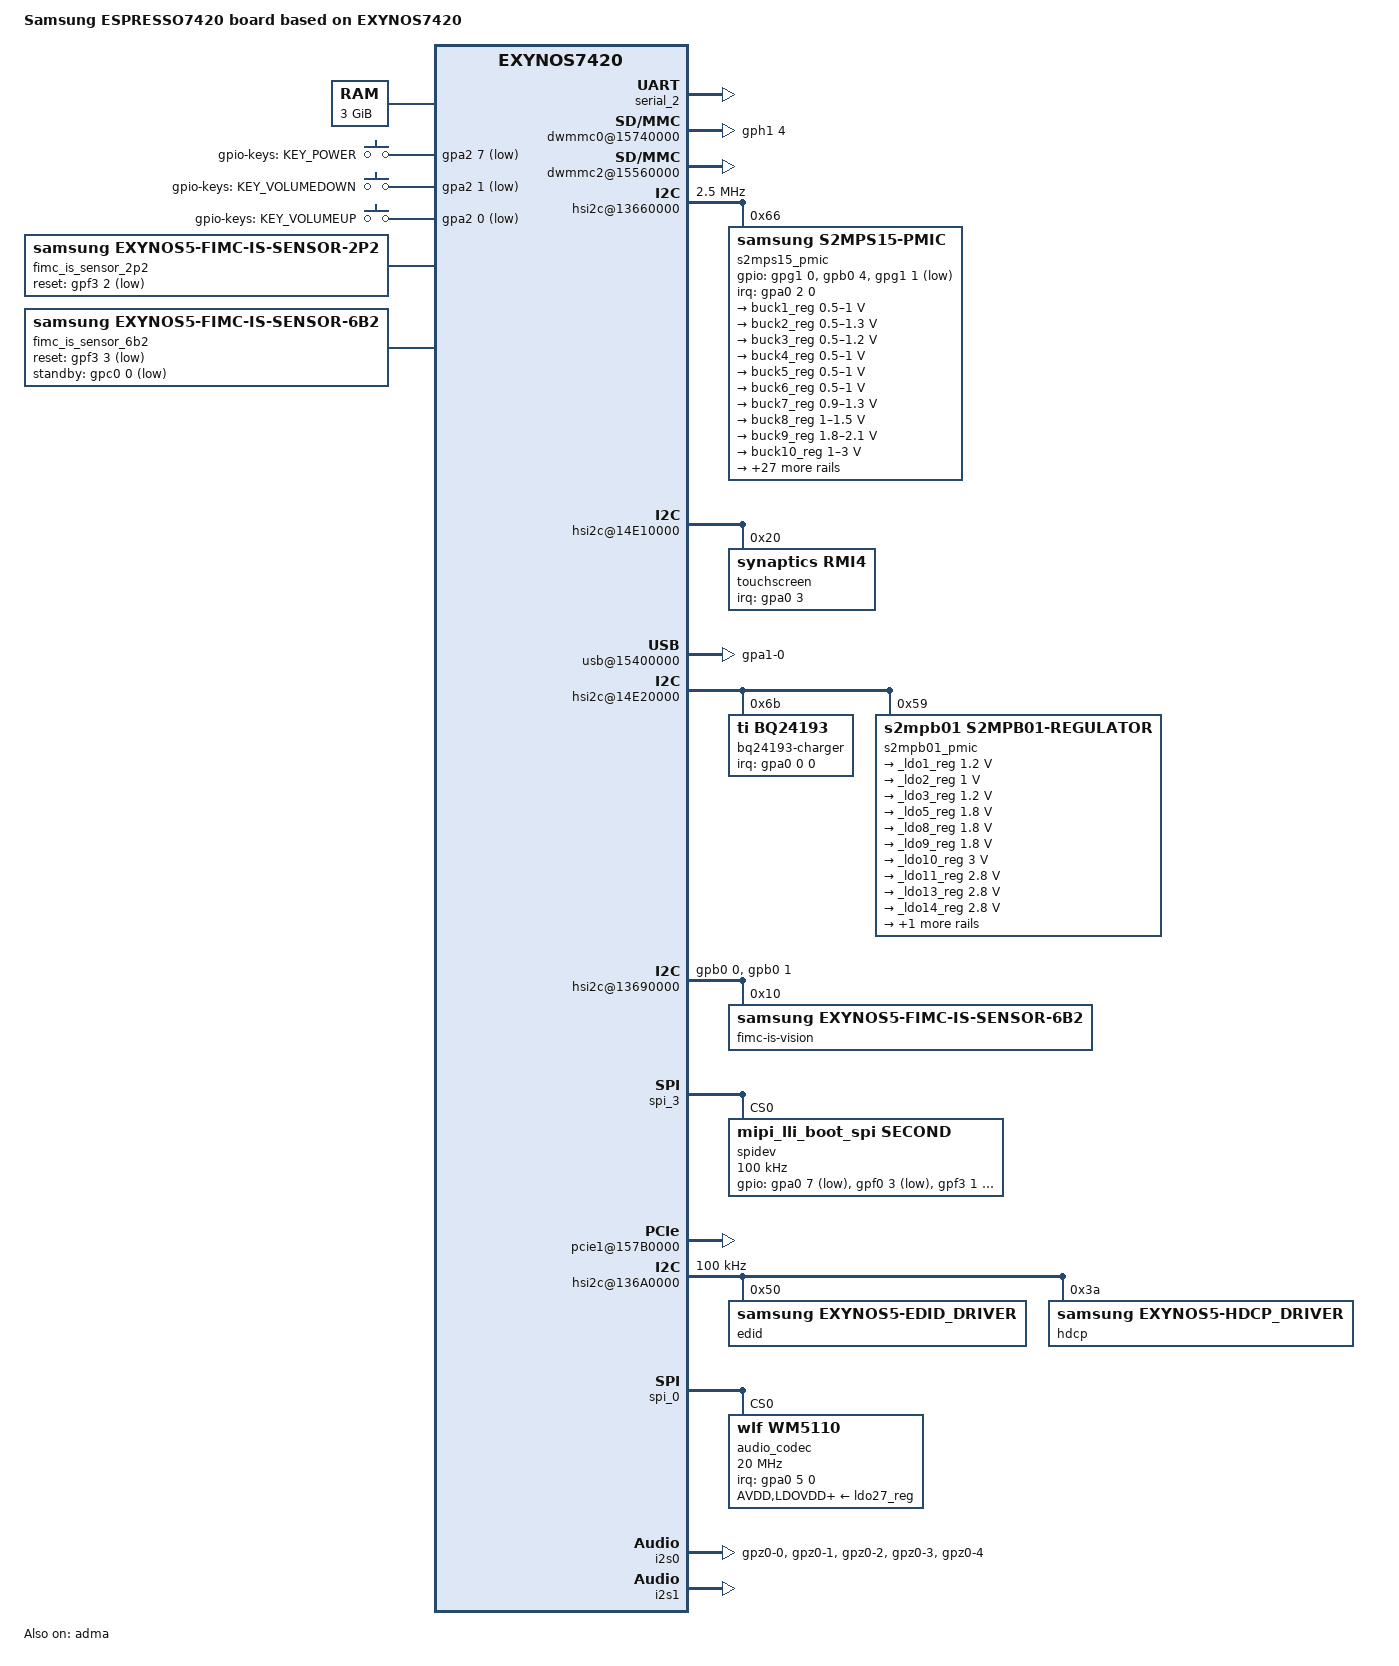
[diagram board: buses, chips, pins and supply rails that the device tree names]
/*
 * SAMSUNG ESPRESSO7420 board device tree source
 *
 * Copyright (c) 2014 Samsung Electronics Co., Ltd.
 *		http://www.samsung.com
 *
 * This program is free software; you can redistribute it and/or modify
 * it under the terms of the GNU General Public License version 2 as
 * published by the Free Software Foundation.
*/

/dts-v1/;
#include "exynos7420.dtsi"

/ {
	model = "Samsung ESPRESSO7420 board based on EXYNOS7420";
	compatible = "samsung,exynos7420", "samsung,ESPRESSO7420";

	memory@40000000 {
		device_type = "memory";
		reg = <0x40000000 0xC0000000>;
	};

	reserved-memory {
		#address-cells = <1>;
		#size-cells = <1>;
		ranges;

		common {
			compatible = "exynos5433-ion,common";
			size = <0x600000>;
			alignment = <0x1000>;
			id = <0>;
		};

		video {
			compatible = "exynos5433-ion,video";
			secure;
			reg = <0xE2A00000 0xE400000>;
			id = <11>;
			compat-id = <4 5 6 7>;
		};

		video_ext {
			compatible = "exynos5433-ion,video_ext";
			secure;
			reg = <0xF0E00000 0x600000>;
			id = <1>;
		};

		mfc_fw {
			compatible = "exynos5433-ion,mfc_fw";
			secure;
			reg = <0xE2800000 0x200000>;
			id = <8>;
		};

		mfc_nfw {
			compatible = "exynos5433-ion,mfc_nfw";
			reg = <0xE2600000 0x110000>;
			id = <12>;
		};

		secdma {
			compatible = "exynos5433-ion,secdma";
			size = <0x40000>;
			alignment = <0x40000>;
			id = <13>;
		};

		mipi_lli_reserved: mipi_lli {
			compatible = "mipi-lli-shmem";
			#memory-region-cells = <0>;
			size = <0x400000>;
			alignment = <0x400000>;
		};

		iram_vector {
			compatible = "mali,iram-vector";
			reg = <0xF2A00000 0x200000>;
		};

		sss_debug {
			compatible = "secure,sss-debug";
			reg = <0xF2C00000 0x100000>;
		};
	};

	aliases {
		spi0 = &spi_0;
		spi1 = &spi_1;
		spi2 = &spi_2;
		spi3 = &spi_3;
		spi4 = &spi_4;
		spi5 = &spi_5;
	};

	chosen {
		bootargs = "console=ttySAC2,115200n8 ess_setup=0x46000000";
		linux,initrd-start = <0x42000000>;
		linux,initrd-end = <0x420FFFFF>;
	};

	fixed-rate-clocks {
		oscclk {
			compatible = "samsung,exynos7420-oscclk";
			clock-frequency = <24000000>;
		};
	};

	ion {
		compatible = "samsung,exynos5430-ion";
	};

	serial_2: uart@14C30000 {
		/* Enable UART channel for debug port */
		pinctrl-names = "default";
		pinctrl-0 = <&uart2_bus>;
		status = "okay";
	};

	dwmmc0@15740000 {
		status = "okay";
		num-slots = <1>;
		broken-cd;
		use-smu;
		fixed_volt;
		biu-clock-gate;
		clock-gate;
		enable-cclk-on-suspend;
		only_once_tune;
		use-fine-tuning;
		bypass-for-allpass;
		supports-highspeed;
		supports-hs200-mode;
		supports-ddr200-mode;
		enable-cache-control;
		use-enable-shift;
		qos_int_level = <468000>;
		ignore-phase=<( 1<<7 )>;
		desc-size = <3>;
		fifo-depth = <0x40>;
		card-detect-delay = <200>;
		samsung,dw-mshc-ciu-div = <3>;
		samsung,dw-mshc-sdr-timing = <3 0 2 1>;
		samsung,dw-mshc-ddr-timing = <3 0 3 2>;
		samsung,dw-mshc-hs200-timing = <3 0 3 1>;
		samsung,dw-mshc-ddr200-timing = <1 0 2 2>;
		samsung,dw-mshc-ddr200-delay-line = <118>;
		clk_pin = "gpr0-0";
		clk_addr = "15690000.pinctrl";
		clk_val = <0x4>;
		clk_str_num = <6>;
		num-ref-clks = <8>;
		ciu_clkin = <25 50 50 100 200 100 200 400>;
		pinctrl-names = "default";
		pinctrl-0 = <&sd0_clk &sd0_cmd &sd0_rdqs &sd0_bus1 &sd0_bus4 &sd0_bus8>;
		gpios = <&gph1 4 0>;
		slot@0 {
			reg = <0>;
			bus-width = <8>;
		};
	};

	dwmmc2@15560000 {
		status = "okay";
		num-slots = <1>;
		supports-highspeed;
		enable-cclk-on-suspend;
		cd-type = <1>;
		bypass-smu;
		biu-clock-gate;
		clock-gate;
		use-fine-tuning;
		desc-size = <3>;
		fifo-depth = <0x40>;
		card-detect-delay = <200>;
		qos_int_level = <468000>;
		bypass-for-allpass;
		fix-fmp-size-mismatch;
		not-allow-single-dma;
		samsung,dw-mshc-ciu-div = <3>;
		samsung,dw-mshc-sdr-timing = <3 0 3 2>;
		samsung,dw-mshc-ddr-timing = <3 0 2 1>;
		clk_pin = "gpr4-0";
		clk_addr = "10E60000.pinctrl";
		clk_val = <0x2>;
		clk_str_num = <6>;
		num-ref-clks = <8>;
		ciu_clkin = <25 50 50 100 200 100 200 400>;
		pinctrl-names = "default";
		pinctrl-0 = <&sd2_clk &sd2_cmd &sd2_cd &sd2_bus1 &sd2_bus4>;
		vdd_vmmc-supply = <&ldo17_reg>;
		vqmmc-supply = <&ldo2_reg>;
		slot@0 {
			reg = <0>;
			bus-width = <4>;
			disable-wp;
		};
	};

	pinctrl@10580000 {

		dwc3_b_sess: dwc3-b-sess {
			samsung,pins = "gpa1-0";
			samsung,pin-function = <0xf>;
			samsung,pin-pud = <0>;
		};

		pmic_irq: pmic-irq {
			samsung,pins = "gpa0-2";
			samsung,pin-pud = <3>;
			samsung,pin-drv = <3>;
		};

		cp_status: cp_status {
			samsung,pins = "gpa0-7";
			samsung,pin-function = <0xf>;
			samsung,pin-pud = <3>;
			samsung,pin-drv = <0>;
		};
	};

	pinctrl@114B0000 {
		dbg_if: dbg-if {
			samsung,pins = "gpz0-6";
			samsung,pin-function = <1>;
			samsung,pin-pud = <0>;
			samsung,pin-drv = <0>;
			samsung,pin-con-pdn = <1>;
			samsung,pin-pud-pdn = <0>;
			samsung,pin-val = <1>;
		};

		i2s0_bus_sd0: i2s0-bus_sd0 {
			samsung,pins = "gpz0-0", "gpz0-1", "gpz0-2", "gpz0-3",
					"gpz0-4";
			samsung,pin-function = <2>;
			samsung,pin-pud = <1>;
			samsung,pin-drv = <0>;
		};

		i2s0_bus_idle_sd0: i2s0-bus-idle_sd0 {
			samsung,pins = "gpz0-0", "gpz0-1", "gpz0-2", "gpz0-3",
					"gpz0-4";
			samsung,pin-function = <0>;
			samsung,pin-pud = <1>;
			samsung,pin-drv = <0>;
		};
	};

	pinctrl@14870000 {
		g3d_dvs: g3d-dvs {
			samsung,pins = "gpg1-1";
			samsung,pin-function = <0x2>;
		};

		/* Warm reset information from AP */
		pm_wrsti: pm-wrsti {
			samsung,pins = "gpf0-2";
			samsung,pin-con-pdn = <3>;
		};

		cfg_wlanen: cfg-wlanen {
			samsung,pins = "gpf0-4";
			samsung,pin-function = <1>;
			samsung,pin-drv = <3>;
			samsung,pin-con-pdn = <3>;
		};

		cp_on: cp_on {
			samsung,pins = "gpf0-3";
			samsung,pin-function = <0x1>;
			samsung,pin-pud = <3>;
			samsung,pin-drv = <3>;
			samsung,pin-val = <0>;
		};

		cp_off: cp_off {
			samsung,pins = "gpf3-1";
			samsung,pin-function = <0x1>;
			samsung,pin-pud = <3>;
			samsung,pin-drv = <3>;
			samsung,pin-val = <0>;
		};

		cp_clk_en: cp_clk_en {
			samsung,pins = "gpf5-7";
			samsung,pin-function = <0x1>;
			samsung,pin-pud = <3>;
			samsung,pin-drv = <3>;
			samsung,pin-val = <0>;
		};

		cp_reset: cp_reset {
			samsung,pins = "gpg1-3";
			samsung,pin-function = <0x1>;
			samsung,pin-pud = <3>;
			samsung,pin-drv = <3>;
			samsung,pin-val = <0>;
		};
	};

	pd_aud: pd-aud@105c4000 {
		compatible = "samsung,exynos-pd";
		reg = <0x105c4000 0x20>;
	};

	hsi2c@13660000 {
		status = "okay";
		samsung,hs-mode;
		clock-frequency = <2500000>;
		samsung,use-apm;

		s2mps15_pmic@66 {
			compatible = "samsung,s2mps15-pmic";
			reg = <0x66>;
			interrupts = <2 0 0>;
			interrupt-parent = <&gpa0>;
			pinctrl-names = "default";
			pinctrl-0 = <&pmic_irq &pm_wrsti &g3d_dvs>;
			gpios = <&gpg1 0 0>, <&gpb0 4 0x2>, <&gpg1 1 0x1>;
			smpl_warn_en = <1>; /* 1 : enable , 0 : disable*/
			/* range of smpl_warn_vth */
			/* PMIC1 */
			/* 2100 : 2.3V, 2300 : 2.3V, 2500 : 2.5V, 2700 : 2.7V 2900 : 2.9V */
			/* 3100 : 3.0V, 3300 : 3.0V, 3500 : 3.0V */
			/* PMIC2 */
			/* 2100 : 2.1V, 2300 : 2.3V, 2500 : 2.5V, 2700 : 2.7V 2900 : 2.9V */
			/* 3100 : 3.1V, 3300 : 3.3V, 3500 : 3.5V */
			smpl_warn_vth = <2900>;
			smpl_warn_hys = <0x00>; /* LOwBat_Hys[4:3] 00(100mV)~11(400mV) */
			adc-on;
			buck_dvs_on;
			g3d_en = <1>; /* 1 : enable , 0 : disable */
			dvs_en = <1>; /* 1 : enable , 0 : disable */
			buck6en_pin = "gpb0-4";
			buck6en_addr = "13470000.pinctrl";
			/* RTC: wtsr/smpl */
			wtsr_en = <1>; /* enable */
			smpl_en = <1>; /* enable */
			wtsr_timer_val = <3>;	/* 1000ms */
			smpl_timer_val = <4>;	/* 500ms */
			check_jigon = <0>; /* do not check jigon */
			/* RTC: If it's first boot, reset rtc to 1/1/2014 12:00:00(Wed) */
			init_time,sec = <0>;
			init_time,min = <0>;
			init_time,hour = <12>;
			init_time,mday = <1>;
			init_time,mon = <0>;
			init_time,year = <114>;
			init_time,wday = <3>;

			regulators {
				buck1_reg: BUCK1 {
					regulator-name = "vdd_mif";
					regulator-min-microvolt = <500000>;
					regulator-max-microvolt = <1000000>;
					regulator-always-on;
					regulator-ramp-delay = <12000>;
					regulator-initial-mode = <1>;
				};

				buck2_reg: BUCK2 {
					regulator-name = "vdd_atlas";
					regulator-min-microvolt = <500000>;
					regulator-max-microvolt = <1300000>;
					regulator-always-on;
					regulator-ramp-delay = <12000>;
					regulator-initial-mode = <1>;
				};

				buck3_reg: BUCK3 {
					regulator-name = "vdd_apollo";
					regulator-min-microvolt = <500000>;
					regulator-max-microvolt = <1200000>;
					regulator-always-on;
					regulator-ramp-delay = <12000>;
					regulator-initial-mode = <1>;
				};

				buck4_reg: BUCK4 {
					regulator-name = "vdd_int";
					regulator-min-microvolt = <500000>;
					regulator-max-microvolt = <1000000>;
					regulator-always-on;
					regulator-ramp-delay = <12000>;
					regulator-initial-mode = <1>;
				};

				buck5_reg: BUCK5 {
					regulator-name = "vdd_disp_cam0";
					regulator-min-microvolt = <500000>;
					regulator-max-microvolt = <1000000>;
					regulator-always-on;
					regulator-ramp-delay = <12000>;
					regulator-initial-mode = <1>;
				};

				buck6_reg: BUCK6 {
					regulator-name = "vdd_g3d";
					regulator-min-microvolt = <500000>;
					regulator-max-microvolt = <1000000>;
					regulator-always-on;
					regulator-ramp-delay = <12000>;
					regulator-initial-mode = <1>;
				};

				buck7_reg: BUCK7 {
					regulator-name = "vdd_mem";
					regulator-min-microvolt = <900000>;
					regulator-max-microvolt = <1300000>;
					regulator-always-on;
					regulator-ramp-delay = <12000>;
					regulator-initial-mode = <3>;
				};

				buck8_reg: BUCK8 {
					regulator-name = "vdd_lldo";
					regulator-min-microvolt = <1000000>;
					regulator-max-microvolt = <1500000>;
					regulator-always-on;
					regulator-ramp-delay = <12000>;
					regulator-initial-mode = <3>;
				};

				buck9_reg: BUCK9 {
					regulator-name = "vdd_mldo";
					regulator-min-microvolt = <1800000>;
					regulator-max-microvolt = <2100000>;
					regulator-always-on;
					regulator-ramp-delay = <12000>;
					regulator-initial-mode = <3>;
				};

				buck10_reg: BUCK10 {
					regulator-name = "vdd_lldo2";
					regulator-min-microvolt = <1000000>;
					regulator-max-microvolt = <3000000>;
					regulator-always-on;
					regulator-ramp-delay = <12000>;
					regulator-initial-mode = <1>;
				};

				ldo1_reg: LDO1 {
					regulator-name = "vdd_ldo1";
					regulator-min-microvolt = <500000>;
					regulator-max-microvolt = <900000>;
					regulator-ramp-delay = <12000>;
					regulator-initial-mode = <3>;
					regulator-always-on;
				};

				ldo2_reg: LDO2 {
					regulator-name = "vqmmc";
					regulator-min-microvolt = <1620000>;
					regulator-max-microvolt = <3300000>;
					regulator-ramp-delay = <12000>;
					regulator-initial-mode = <1>;
					regulator-always-on;
				};

				ldo3_reg: LDO3 {
					regulator-name = "vdd_ldo3";
					regulator-min-microvolt = <1620000>;
					regulator-max-microvolt = <1980000>;
					regulator-ramp-delay = <12000>;
					regulator-initial-mode = <3>;
					regulator-always-on;
				};

				ldo4_reg: LDO4 {
					regulator-name = "vdd_ldo4";
					regulator-min-microvolt = <800000>;
					regulator-max-microvolt = <1110000>;
					regulator-ramp-delay = <12000>;
					regulator-initial-mode = <1>;
					regulator-always-on;
				};

				ldo5_reg: LDO5 {
					regulator-name = "vdd_ldo5";
					regulator-min-microvolt = <1620000>;
					regulator-max-microvolt = <1980000>;
					regulator-ramp-delay = <12000>;
					regulator-always-on;
					regulator-initial-mode = <1>;
				};

				ldo6_reg: LDO6 {
					regulator-name = "vdd_ldo6";
					regulator-min-microvolt = <2250000>;
					regulator-max-microvolt = <3300000>;
					regulator-ramp-delay = <12000>;
					regulator-always-on;
					regulator-initial-mode = <1>;
				};

				ldo7_reg: LDO7 {
					regulator-name = "vdd_ldo7";
					regulator-min-microvolt = <700000>;
					regulator-max-microvolt = <1150000>;
					regulator-ramp-delay = <12000>;
					regulator-always-on;
					regulator-initial-mode = <1>;
				};

				ldo8_reg: LDO8 {
					regulator-name = "vdd_ldo8";
					regulator-min-microvolt = <700000>;
					regulator-max-microvolt = <1000000>;
					regulator-ramp-delay = <12000>;
					regulator-always-on;
					regulator-initial-mode = <1>;
				};

				ldo9_reg: LDO9 {
					regulator-name = "vdd_ldo9";
					regulator-min-microvolt = <700000>;
					regulator-max-microvolt = <1000000>;
					regulator-ramp-delay = <12000>;
					regulator-always-on;
					regulator-initial-mode = <1>;
				};

				ldo10_reg: LDO10 {
					regulator-name = "vdd_ldo10";
					regulator-min-microvolt = <700000>;
					regulator-max-microvolt = <1000000>;
					regulator-ramp-delay = <12000>;
					regulator-always-on;
					regulator-initial-mode = <1>;
				};

				ldo11_reg: LDO11 {
					regulator-name = "vdd_ldo11";
					regulator-min-microvolt = <1000000>;
					regulator-max-microvolt = <1300000>;
					regulator-ramp-delay = <12000>;
					regulator-always-on;
					regulator-initial-mode = <1>;
				};

				ldo12_reg: LDO12 {
					regulator-name = "vdd_ldo12";
					regulator-min-microvolt = <1000000>;
					regulator-max-microvolt = <1300000>;
					regulator-ramp-delay = <12000>;
					regulator-always-on;
					regulator-initial-mode = <1>;
				};

				ldo13_reg: LDO13 {
					regulator-name = "vdd_ldo13";
					regulator-min-microvolt = <1000000>;
					regulator-max-microvolt = <1300000>;
					regulator-ramp-delay = <12000>;
					regulator-always-on;
					regulator-initial-mode = <1>;
				};

				ldo14_reg: LDO14 {
					regulator-name = "vdd_ldo14";
					regulator-min-microvolt = <1800000>;
					regulator-max-microvolt = <3375000>;
					regulator-ramp-delay = <12000>;
					regulator-always-on;
					regulator-boot-on;
					regulator-initial-mode = <1>;
				};

				ldo15_reg: LDO15 {
					regulator-name = "vdd_ldo15";
					regulator-min-microvolt = <1500000>;
					regulator-max-microvolt = <2275000>;
					regulator-ramp-delay = <12000>;
					regulator-always-on;
					regulator-boot-on;
					regulator-initial-mode = <3>;
				};

				ldo16_reg: LDO16 {
					regulator-name = "vdd_ldo16";
					regulator-min-microvolt = <1800000>;
					regulator-max-microvolt = <1800000>;
					regulator-ramp-delay = <12000>;
					regulator-always-on;
					regulator-boot-on;
					regulator-initial-mode = <3>;
				};

				ldo17_reg: LDO17 {
					regulator-name = "vmmc";
					regulator-min-microvolt = <1800000>;
					regulator-max-microvolt = <3375000>;
					regulator-ramp-delay = <12000>;
					regulator-always-on;
					regulator-boot-on;
					regulator-initial-mode = <1>;
				};

				ldo18_reg: LDO18 {
					regulator-name = "vdd_ldo18";
					regulator-min-microvolt = <1500000>;
					regulator-max-microvolt = <2275000>;
					regulator-ramp-delay = <12000>;
					regulator-always-on;
					regulator-boot-on;
					regulator-initial-mode = <1>;
				};

				ldo19_reg: LDO19 {
					regulator-name = "vdd_ldo19";
					regulator-min-microvolt = <1800000>;
					regulator-max-microvolt = <3375000>;
					regulator-ramp-delay = <12000>;
					regulator-boot-on;
					regulator-always-on;
					regulator-initial-mode = <1>;
				};

				ldo20_reg: LDO20 {
					regulator-name = "vdd_ldo20";
					regulator-min-microvolt = <1500000>;
					regulator-max-microvolt = <2275000>;
					regulator-ramp-delay = <12000>;
					regulator-always-on;
					regulator-boot-on;
					regulator-initial-mode = <1>;
				};

				ldo21_reg: LDO21 {
					regulator-name = "tsp_avdd";
					regulator-min-microvolt = <1800000>;
					regulator-max-microvolt = <3375000>;
					regulator-ramp-delay = <12000>;
					regulator-boot-on;
					regulator-always-on;
					regulator-initial-mode = <1>;
				};

				ldo22_reg: LDO22 {
					regulator-name = "CAM_SEN_CORE_1.2V_AP";
					regulator-min-microvolt = <1200000>;
					regulator-max-microvolt = <1200000>;
					regulator-ramp-delay = <12000>;
					regulator-boot-on;
					regulator-always-on;
					regulator-initial-mode = <1>;
				};

				ldo23_reg: LDO23 {
					regulator-name = "tsp_io";
					regulator-min-microvolt = <1500000>;
					regulator-max-microvolt = <2275000>;
					regulator-ramp-delay = <12000>;
					regulator-boot-on;
					regulator-always-on;
					regulator-initial-mode = <1>;
				};

				ldo24_reg: LDO24 {
					regulator-name = "vdd_ldo24";
					regulator-min-microvolt = <1800000>;
					regulator-max-microvolt = <3375000>;
					regulator-ramp-delay = <12000>;
					regulator-boot-on;
					regulator-always-on;
					regulator-initial-mode = <1>;
				};

				ldo25_reg: LDO25 {
					regulator-name = "vdd_ldo25";
					regulator-min-microvolt = <1800000>;
					regulator-max-microvolt = <3375000>;
					regulator-ramp-delay = <12000>;
					regulator-boot-on;
					regulator-always-on;
					regulator-initial-mode = <1>;
				};

				ldo26_reg: LDO26 {
					regulator-name = "vdd_ldo26";
					regulator-min-microvolt = <700000>;
					regulator-max-microvolt = <1470000>;
					regulator-ramp-delay = <12000>;
					regulator-boot-on;
					regulator-always-on;
					regulator-initial-mode = <1>;
				};

				ldo27_reg: LDO27 {
					regulator-name = "vdd_ldo27";
					regulator-min-microvolt = <1500000>;
					regulator-max-microvolt = <2275000>;
					regulator-ramp-delay = <12000>;
					regulator-boot-on;
					regulator-always-on;
					regulator-initial-mode = <1>;
				};
			};
		};
	};

	pinctrl@10580000 {
		gpa2_pull_up: gpa2_pull_up {
			samsung,pins = "gpa2-0", "gpa2-1", "gpa2-7";
			samsung,pin-function = <0xf>;
			samsung,pin-pud = <3>;
			samsung,pin-drv = <0>;
		};
		attn_irq: attn-irq {
			samsung,pins = "gpa0-3";
			samsung,pin-function = <0xf>;
			samsung,pin-pud = <0>;
			samsung,pin-drv = <0>;
		};
		attn_input: attn-input {
			samsung,pins = "gpa0-3";
			samsung,pin-function = <0>;
			samsung,pin-pud = <1>;
			samsung,pin-drv = <0>;
		};
		chg_irq: chg-irq {
			samsung,pins = "gpa0-0";
			samsung,pin-function = <0>;
			samsung,pin-pud = <3>;
			samsung,pin-drv = <3>;
		};
	};

	gpio_keys {
		compatible = "gpio-keys";
		#address-cells = <1>;
		#size-cells = <0>;
		pinctrl-names = "default";
		pinctrl-0 = <&gpa2_pull_up>;
		button@1 {
			label = "gpio-keys: KEY_POWER";
			interrupts = <7 0 0>;
			interrupt-parent = <&gpa2>;
			linux,code = <116>;
			gpios = <&gpa2 7 0xf>;
			gpio-key,wakeup = <1>;
		};
		button@2 {
			label = "gpio-keys: KEY_VOLUMEDOWN";
			interrupts = <1 0 0>;
			interrupt-parent = <&gpa2>;
			linux,code = <114>;
			gpios = <&gpa2 1 0xf>;
		};
		button@3 {
			label = "gpio-keys: KEY_VOLUMEUP";
			interrupts = <0 0 0>;
			interrupt-parent = <&gpa2>;
			linux,code = <115>;
			gpios = <&gpa2 0 0xf>;
		};
	};

	hsi2c@14E10000 {
		status = "okay";
		touchscreen@20 {
			compatible = "synaptics,rmi4";
			reg = <0x20>;
			pinctrl-names = "on_state", "off_state";
			pinctrl-0 = <&attn_irq>;
			pinctrl-1 = <&attn_input>;
			synaptics,irq_gpio = <&gpa0 3 0>;
			synaptics,irq_type = <8200>;
			synaptics,max_coords = <1440 2560>;     /* x y */
			synaptics,num_lines = <29 16>;          /* rx tx */

			synaptics,regulator_dvdd = "tsp_io";
			synaptics,regulator_avdd = "vdd_ldo25";
			synaptics,project_name = "";
		};
	};


	usb@15400000 {
		samsung,bsess-gpio = <&gpa1 0 0xf>;
		pinctrl-names = "default";
		pinctrl-0 = <&dwc3_b_sess>;
		status = "okay";

		dwc3 {
			maximum-speed = "super-speed";
			dr_mode = "otg";
		};
	};

	ipa_pdata {
		compatible = "samsung,exynos-ipa";

		control_temp = <90>;
		temp_threshold = <30>;
		enabled = <1>;
		tdp = <3500>;
		boost = <1>;
		ros_power = <500>;
		little_weight = <1024>;
		big_weight = <256>;
		gpu_weight = <256>;
		little_max_power = <1000>;
		big_max_power = <6552>;
		gpu_max_power = <3110>;
		hotplug_out_threshold = <10>;
		hotplug_in_threshold = <0>;
		enable_ctlr = <1>;
		ctlr.mult = <2>;
		ctlr.k_i = <1>;
		ctlr.k_d = <0>;
		ctlr.feed_forward = <1>;
		ctlr.integral_reset_value = <0>;
		ctlr.integral_cutoff = <0>;
		ctlr.integral_reset_threshold = <10>;
	};

	decon_0: decon_fb {
		/* EINT for TE */
		gpios = <&gpd4 3 0xf>;
	};

	dsim_0: dsim@0x13900000 {
		lcd_info = <&s6e3ha0>;
		/* lcd reset, power */
		gpios = <&gpd4 0 0x1>, <&gpr2 0 0x1>;
	};

	s6e3fa0: s6e3fa0_fhd {
		 mode = <2>; /* 2: MIPI command mode */
		 resolution = <1080 1920>;
		 size = <70 121>;
		 timing,refresh = <60>;
		 timing,h-porch = <1 1 1>;
		 timing,v-porch = <10 1 1>;
		 timing,dsi-hs-clk = <1100>;
		 timing,dsi-escape-clk = <20>;
		 mic = <0>;
		 mic_ver = <1>;		/* 0: mic v1.1, 1: v1.2, 2: v2.0 */
		 type_of_ddi = <0>; /* 0:Samsung Mobile */
	};

	s6e3ha0: s6e3ha0_wqhd {
		mode = <2>;		/* 0: video mode, 1: DP command mode, 2: MIPI command mode */
		resolution = <1440 2560>;
		size = <70 121>;
		timing,refresh = <60>;
		timing,h-porch = <1 1 1>;
		timing,v-porch = <20 1 1>;
		timing,dsi-hs-clk = <1100>;
		timing,dsi-escape-clk = <20>;
		mic = <1>;		/* 0: mic disable, 1: mic enable */
		mic_ver = <2>;		/* 0: mic v1.1, 1: v1.2, 2: v2.0 */
		type_of_ddi = <0>;	/* 0: Samsung Mobile, 1: MAGNA, 2: Normal(Etc) */
	};

	hsi2c@14E20000 {
		status = "okay";
		bq24193-charger@6b {
			compatible = "ti,bq24193";
			reg = <0x6b>;
			interrupts = <0 0 0>;
			interrupt-parent = <&gpa0>;
			pinctrl-names = "default";
			pinctrl-3 = <&chg_irq>;
			dev_name = "bq24193";
		};

		s2mpb01_pmic@59 {
			compatible = "s2mpb01,s2mpb01-regulator";
			reg = <0x59>;

			regulators {
				_ldo1_reg: LDO1 {
					regulator-name = "VDD12_VTCAMCORE";
					regulator-min-microvolt = <1200000>;
					regulator-max-microvolt = <1200000>;
				};

				_ldo2_reg: LDO2 {
					regulator-name = "VDDD_MIPI_1.0V_COMP";
					regulator-min-microvolt = <1000000>;
					regulator-max-microvolt = <1000000>;
				};

				_ldo3_reg: LDO3 {
					regulator-name = "VDD12_CAMCORE";
					regulator-min-microvolt = <1200000>;
					regulator-max-microvolt = <1200000>;
				};

				_ldo5_reg: LDO5 {
					regulator-name = "VDD18_VTCAMIO";
					regulator-min-microvolt = <1800000>;
					regulator-max-microvolt = <1800000>;
				};

				_ldo8_reg: LDO8 {
					regulator-name = "VDD18_CAMIO";
					regulator-min-microvolt = <1800000>;
					regulator-max-microvolt = <1800000>;
				};

				_ldo9_reg: LDO9 {
					regulator-name = "VDDA_1.8V_COMP";
					regulator-min-microvolt = <1800000>;
					regulator-max-microvolt = <1800000>;
				};

				_ldo10_reg: LDO10 {
					regulator-name = "VDDA30_VTCAMSEN";
					regulator-min-microvolt = <3000000>;
					regulator-max-microvolt = <3000000>;
				};

				_ldo11_reg: LDO11 {
					regulator-name = "VDDA28_CAMSEN";
					regulator-min-microvolt = <2800000>;
					regulator-max-microvolt = <2800000>;
				};

				_ldo13_reg: LDO12 {
					regulator-name = "VDD28_VTCAMAF";
					regulator-min-microvolt = <2800000>;
					regulator-max-microvolt = <2800000>;
				};

				_ldo14_reg: LDO14 {
					regulator-name = "VDD28_CAMAF";
					regulator-min-microvolt = <2800000>;
					regulator-max-microvolt = <2800000>;
				};

				_ldo15_reg: LDO15 {
					regulator-name = "OIS_VDD_2.8V";
					regulator-min-microvolt = <2800000>;
					regulator-max-microvolt = <2800000>;
				};
			};
		};
	};

	hsi2c@13690000 {
		gpios = <&gpb0 0 0 &gpb0 1 0 >;
		status = "okay";
		samsung,i2c-sda-delay = <100>;
		samsung,i2c-max-bus-freq = <400000>;
		status = "okay";
		fimc-is-vision@20 {
			compatible = "samsung,exynos5-fimc-is-sensor-6b2";
			reg = <0x10>;
		};
	};

	fimc_is_sensor_2p2: fimc-is_sensor_2p2@5A {
		compatible = "samsung,exynos5-fimc-is-sensor-2p2";

		position = <0>; /* Rear:0. Front:1 */
		id = <0>; /* bns_id */
		mclk_ch = <0>;
		sensor_i2c_ch = <0>; /* I2C 0 */
		sensor_i2c_addr = <0x5A>;

		gpio_reset = <&gpf3 2 0x1>; /* sensor reset */
		status = "okay";

		af {
			product_name = <7>; /* AK7345 */
			i2c_addr = <0x5A>;
			i2c_ch = <0>; /* I2C 2 */
		};

		flash {
			product_name = <5>; /* KTD2692 */
			flash_first_gpio = <3>;
			flash_second_gpio = <7>;
		};

		companion {
			product_name = <2>; /* 73C2 */
			spi_channel = <1>;
			i2c_addr = <0x7A>;
			i2c_ch = <0>; /* I2C 0*/
		};

		ois {
			product_name = <1>; /* IDG2030 */
			i2c_addr = <0x48>;
			i2c_ch = <2>; /* I2C 2 */
		};
	};

	fimc_is_sensor_6b2: fimc-is_sensor_6b2@20 {
		compatible = "samsung,exynos5-fimc-is-sensor-6b2";

		position = <1>; /* Rear:0. Front:1 */
		id = <1>; /* bns_id */
		mclk_ch = <1>;
		sensor_i2c_ch = <1>;
		sensor_i2c_addr = <0x20>;

		gpio_reset = <&gpf3 3 0x1>;
		gpio_standby = <&gpc0 0 0x1>;
		status = "okay";
	};

	fimc_is_sensor0: fimc_is_sensor@14020000 {
		scenario = <0>;
		id = <0>;
		csi_ch = <0>;
		flite_ch = <0>;
		is_bns = <1>;
		status = "okay";
	};

	fimc_is_sensor1: fimc_is_sensor@14030000 {
		scenario = <0>;
		id = <1>;
		csi_ch = <1>;
		flite_ch = <1>;
		is_bns = <0>;
		status = "okay";
	};

	fimc_is_sensor2: fimc_is_sensor@14110000 {
		scenario = <0>;	/* Normal, Vision, OIS etc */
		id = <2>; /* bns_id */
		csi_ch = <2>;
		flite_ch = <2>;
		is_bns = <1>;
		status = "okay";
	};

	fimc_is_sensor3: fimc_is_sensor@14040000 {
		scenario = <0>;	/* Normal, Vision, OIS etc */
		id = <3>; /* bns_id */
		csi_ch = <3>;
		flite_ch = <3>;
		is_bns = <0>;
		status = "okay";
	};

	fimc_is@14200000 {
		rear_sensor_id = <10>;
		front_sensor_id = <7>;
		use_module_check;
		skip_cal_loading;
		use_ois_hsi2c;

		pinctrl-names = "default", "pin0", "pin1", "pin2", "pin3", "pin4", "pin5", "pin6";
		pinctrl-0 = <&fimc_is_mclk0_in &fimc_is_mclk1_in &fimc_is_mclk2_in>;
		pinctrl-1 = <&fimc_is_mclk1_fn>; /* companion */
		pinctrl-2 = <&fimc_is_i2c0 &fimc_is_i2c2 &fimc_is_mclk0_fn &fimc_is_mclk1_fn>; /* rear on */
		pinctrl-3 = <&fimc_is_i2c1 &fimc_is_mclk2_fn>; /* front on */
		pinctrl-4 = <&fimc_is_mclk0_in &fimc_is_mclk1_in &fimc_is_mclk2_in>; /* rear off */
		pinctrl-5 = <&fimc_is_i2c0 &fimc_is_mclk1_fn &fimc_is_i2c1 &fimc_is_mclk2_fn>; /* front c2 on */
		pinctrl-6 = <&fimc_is_mclk1_in &fimc_is_mclk2_in>; /* front c2 off */
		pinctrl-7 = <&fimc_is_mclk2_in>; /* front off */

		#define DVFS_INT_L0 690000
		#define DVFS_INT_L1 680000
		#define DVFS_INT_L2 670000
		#define DVFS_INT_L3 660000
		#define DVFS_INT_L4 650000
		#define DVFS_INT_L5 640000
		#define DVFS_INT_L6 630000
		#define DVFS_INT_L7 620000
		#define DVFS_INT_L8 610000
		#define DVFS_INT_L9 600000

		#define DVFS_CAM_L0 590000
		#define DVFS_CAM_L1 580000
		#define DVFS_CAM_L2 570000
		#define DVFS_CAM_L3 560000
		#define DVFS_CAM_L4 550000
		#define DVFS_CAM_L5 540000
		#define DVFS_CAM_L6 530000
		#define DVFS_CAM_L7 520000
		#define DVFS_CAM_L8 510000
		#define DVFS_CAM_L9 500000

		#define DVFS_MIF_L0 1552000
		#define DVFS_MIF_L1 1456000
		#define DVFS_MIF_L2 1264000
		#define DVFS_MIF_L3 1068000
		#define DVFS_MIF_L4 828000
		#define DVFS_MIF_L5 632000

		fimc_is_dvfs {
			default_int = <DVFS_INT_L1>;
			default_cam = <DVFS_CAM_L3>;
			default_mif = <DVFS_MIF_L5>;
			default_i2c = <0>;

			front_preview_int = <DVFS_INT_L4>;
			front_preview_cam = <DVFS_CAM_L7>;
			front_preview_mif = <DVFS_MIF_L5>;
			front_preview_i2c = <0>;

			front_capture_int = <DVFS_INT_L4>;
			front_capture_cam = <DVFS_CAM_L7>;
			front_capture_mif = <DVFS_MIF_L4>;
			front_capture_i2c = <0>;

			front_video_int = <DVFS_INT_L4>;
			front_video_cam = <DVFS_CAM_L7>;
			front_video_mif = <DVFS_MIF_L4>;
			front_video_i2c = <0>;

			front_video_whd_int = <DVFS_INT_L5>;
			front_video_whd_cam = <DVFS_CAM_L7>;
			front_video_whd_mif = <DVFS_MIF_L5>;
			front_video_whd_i2c = <0>;

			front_video_capture_int = <DVFS_INT_L8>;
			front_video_capture_cam = <DVFS_CAM_L7>;
			front_video_capture_mif = <DVFS_MIF_L5>;
			front_video_capture_i2c = <0>;

			front_video_whd_capture_int = <DVFS_INT_L5>;
			front_video_whd_capture_cam = <DVFS_CAM_L7>;
			front_video_whd_capture_mif = <DVFS_MIF_L5>;
			front_video_whd_capture_i2c = <0>;

			front_vt1_int = <DVFS_INT_L4>;
			front_vt1_cam = <DVFS_CAM_L8>;
			front_vt1_mif = <DVFS_MIF_L5>;
			front_vt1_i2c = <0>;

			front_vt2_int = <DVFS_INT_L4>;
			front_vt2_cam = <DVFS_CAM_L8>;
			front_vt2_mif = <DVFS_MIF_L5>;
			front_vt2_i2c = <0>;

			front_companion_preview_int = <DVFS_INT_L3>;
			front_companion_preview_cam = <DVFS_CAM_L5>;
			front_companion_preview_mif = <DVFS_MIF_L5>;
			front_companion_preview_i2c = <0>;

			front_companion_capture_int = <DVFS_INT_L3>;
			front_companion_capture_cam = <DVFS_CAM_L5>;
			front_companion_capture_mif = <DVFS_MIF_L5>;
			front_companion_capture_i2c = <0>;

			front_companion_video_int = <DVFS_INT_L3>;
			front_companion_video_cam = <DVFS_CAM_L5>;
			front_companion_video_mif = <DVFS_MIF_L5>;
			front_companion_video_i2c = <0>;

			front_companion_video_whd_int = <DVFS_INT_L3>;
			front_companion_video_whd_cam = <DVFS_CAM_L5>;
			front_companion_video_whd_mif = <DVFS_MIF_L5>;
			front_companion_video_whd_i2c = <0>;

			front_companion_video_capture_int = <DVFS_INT_L3>;
			front_companion_video_capture_cam = <DVFS_CAM_L5>;
			front_companion_video_capture_mif = <DVFS_MIF_L5>;
			front_companion_video_capture_i2c = <0>;

			front_companion_video_whd_capture_int = <DVFS_INT_L3>;
			front_companion_video_whd_capture_cam = <DVFS_CAM_L5>;
			front_companion_video_whd_capture_mif = <DVFS_MIF_L5>;
			front_companion_video_whd_capture_i2c = <0>;

			rear_preview_fhd_int = <DVFS_INT_L3>;
			rear_preview_fhd_cam = <DVFS_CAM_L2>;
			rear_preview_fhd_mif = <DVFS_MIF_L5>;
			rear_preview_fhd_i2c = <0>;

			rear_preview_whd_int = <DVFS_INT_L3>;
			rear_preview_whd_cam = <DVFS_CAM_L1>;
			rear_preview_whd_mif = <DVFS_MIF_L5>;
			rear_preview_whd_i2c = <0>;

			rear_preview_uhd_int = <DVFS_INT_L3>;
			rear_preview_uhd_cam = <DVFS_CAM_L1>;
			rear_preview_uhd_mif = <DVFS_MIF_L5>;
			rear_preview_uhd_i2c = <0>;

			rear_capture_int = <DVFS_INT_L3>;
			rear_capture_cam = <DVFS_CAM_L1>;
			rear_capture_mif = <DVFS_MIF_L5>;
			rear_capture_i2c = <0>;

			rear_video_fhd_int = <DVFS_INT_L5>;
			rear_video_fhd_cam = <DVFS_CAM_L2>;
			rear_video_fhd_mif = <DVFS_MIF_L5>;
			rear_video_fhd_i2c = <0>;

			rear_video_uhd_int = <DVFS_INT_L1>;
			rear_video_uhd_cam = <DVFS_CAM_L1>;
			rear_video_uhd_mif = <DVFS_MIF_L5>;
			rear_video_uhd_i2c = <0>;

			rear_video_fhd_capture_int = <DVFS_INT_L5>;
			rear_video_fhd_capture_cam = <DVFS_CAM_L2>;
			rear_video_fhd_capture_mif = <DVFS_MIF_L5>;
			rear_video_fhd_capture_i2c = <0>;

			rear_video_uhd_capture_int = <DVFS_INT_L1>;
			rear_video_uhd_capture_cam = <DVFS_CAM_L1>;
			rear_video_uhd_capture_mif = <DVFS_MIF_L5>;
			rear_video_uhd_capture_i2c = <0>;

			dual_preview_int = <DVFS_INT_L6>;
			dual_preview_cam = <DVFS_CAM_L4>;
			dual_preview_mif = <DVFS_MIF_L5>;
			dual_preview_i2c = <0>;

			dual_capture_int = <DVFS_INT_L6>;
			dual_capture_cam = <DVFS_CAM_L4>;
			dual_capture_mif = <DVFS_MIF_L5>;
			dual_capture_i2c = <0>;

			dual_video_int = <DVFS_INT_L9>;
			dual_video_cam = <DVFS_CAM_L5>;
			dual_video_mif = <DVFS_MIF_L5>;
			dual_video_i2c = <0>;

			dual_video_capture_int = <DVFS_INT_L9>;
			dual_video_capture_cam = <DVFS_CAM_L5>;
			dual_video_capture_mif = <DVFS_MIF_L5>;
			dual_video_capture_i2c = <0>;

			preview_high_speed_fps_int = <DVFS_INT_L2>;
			preview_high_speed_fps_cam = <DVFS_CAM_L4>;
			preview_high_speed_fps_mif = <DVFS_MIF_L5>;
			preview_high_speed_fps_i2c = <0>;

			video_high_speed_fps_int = <DVFS_INT_L2>;
			video_high_speed_fps_cam = <DVFS_CAM_L4>;
			video_high_speed_fps_mif = <DVFS_MIF_L5>;
			video_high_speed_fps_i2c = <0>;

			max_int = <DVFS_INT_L0>;
			max_cam = <DVFS_CAM_L0>;
			max_mif = <DVFS_MIF_L5>;
			max_i2c = <0>;
		};
	};

	spi_3: spi@14d50000 {
		#address-cells = <1>;
		#size-cells = <0>;
		status = "okay";
		pinctrl-names = "default";
		pinctrl-0 = <&spi3_bus>, <&spi3_cs_func>;

		spidev@0 {
			#address-celss = <1>;
			#size-cells = <1>;
			compatible = "mipi_lli_boot_spi,second";
			reg = <0x0>;
			spi-max-frequency = <100000>;
			pinctrl-names = "default";
			pinctrl-0 = <&cp_status>, <&cp_on>, <&cp_off>, <&cp_reset>, <&cp_clk_en>;
			gpios = <&gpa0 7 0xf>, <&gpf0 3 0x1>, <&gpf3 1 0x0>, <&gpg1 3 0x1>, <&gpf5 7 0x1>;
			controller-data {
				samsung,spi-feedback-delay = <0>;
				samsung,spi-chip-select-mode = <1>;
			};
		};
	};

	mipi-lli@10F24000 {
		status = "okay";
		memory-region = <&mipi_lli_reserved>;
		modem-name = "ss333";
		modems {
			ss300 {
				/* disable scrambler */
				scrambler = <0>;
				/* do not control automode by AP */
				automode = <0>;
			};

			ss303 {
				/* disable scrambler */
				scrambler = <0>;
				/* do not control automode by AP */
				automode = <0>;
			};

			ss333 {
				/* disable scrambler */
				scrambler = <0>;
				/* do not control automode by AP */
				automode = <0>;
			};

			xmm7260 {
				/* disable scrambler */
				scrambler = <0>;
				/* do not control automode by AP */
				automode = <0>;
			};
		};

		mphy {
			modem-name = "ss333";
			modems {
				ss300 {
					/* initial-gear is HS-G1 */
					init-gear = <2 1 1>;
					/* use shared reference clock for MPHY */
					shd-refclk = <1>;
				};

				ss303 {
					/* initial-gear is HS-G1 */
					init-gear = <2 1 1>;
					/* use shared reference clock for MPHY */
					shd-refclk = <1>;
				};

				ss333 {
					/* initial-gear is HS-G2 */
					init-gear = <2 2 1>;
					/* use shared reference clock for MPHY */
					shd-refclk = <1>;
				};

				xmm7260 {
					/* initial-gear is HS-G1 */
					init-gear = <2 1 1>;
					/* use shared reference clock for MPHY */
					shd-refclk = <1>;
				};
			};
		};
	};

	pcie0@155C0000 {
		status = "disabled";
	};

	pcie1@157B0000 {
		pcie,wlan-gpio = <&gpf0 4 0x1 /* WLAN_EN */ >;
		pcie,bt-gpio = <&gpf1 0 0x1 /* BT_EN */ >;
		status = "okay";
	};

	ufs@0x15570000 {
		status = "okay";
		ufs,pmd-attr-mode = "FAST";
		ufs,pmd-attr-lane = /bits/ 8 <2>;
		ufs,pmd-attr-gear = /bits/ 8 <2>;
		ufs,pmd-attr-hs-series = "HS_rate_b";
		ufs-opts-skip-connection-estab;
		ufs-rx-adv-fine-gran-sup_en = <1>;
		ufs-rx-adv-fine-gran-step = <3>;
		ufs-rx-adv-min-activate-time-cap = <10>;
		ufs-pa-granularity = <6>;
		ufs-pa-tacctivate = <3>;
		ufs-pa-hibern8time = <20>;

		ufs-cap-clk-gating;
		ufs-cap-hibern8-with-clk-gating;
	};

	hsi2c@136A0000 {
		status = "okay";
		clock-frequency = <100000>;
		/* hdmi edid dirver */
		edid@50 {
			compatible = "samsung,exynos5-edid_driver";
			reg = <0x50>;
		};

		/* hdmi hdcp dirver */
		hdcp@3A {
			compatible = "samsung,exynos5-hdcp_driver";
			reg = <0x3A>;
		};
	};

	hdmi@13970000 {
		/* all bit clock supports: 1, not support: 0 */
		audio_master_clk = <1>;
		gpios = <&gpa3 0 0xf>, <&gpf4 5 0x1>, <&gpf4 6 0x1>;
	};

	spi_0: spi@14d20000 {
		status = "okay";
		audio_codec: wm5110@0 {
			compatible = "wlf,wm5110";
			reg = <0x0>;
			spi-max-frequency = <20000000>;
			interrupts = <5 0 0>;
			interrupt-parent = <&gpa0>;

			gpio-controller;
			#gpio-cells = <2>;

			pinctrl-names ="default";
			pinctrl-0 = <&codec_reset &codec_ldoena>;

			wlf,reset = <&gpf2 1 0>;
			wlf,ldoena = <&gpf2 2 0>;
			wlf,init-mic-delay = <30>;
			wlf,micd-detect-debounce = <300>;
			wlf,micd-bias-start-time = <0x1>;
			wlf,micd-rate = <0x7>;
			wlf,micd-dbtime = <0x1>;
			wlf,micd-timeout = <1000>;
			wlf,micd-force-micbias;
			wlf,micd-ranges = <
				139 226
				295 115
				752 114
				1257 217
			>;

			wlf,micd-configs = <
				0x0 1 0
			>;

			wlf,micbias1 = <2800 0 1 0 0>;
			wlf,micbias2 = <1800 0 1 0 0>;
			wlf,micbias3 = <1800 0 1 0 0>;

			wlf,gpio-defaults = <
				0xA101
				0xA101
				0xA101
				0xA101
				0x8101
			>;

			wlf,gpsw = <0x3>;
			wlf,use-jd-gpio;
			wlf,jd-gpio-nopull;
			wlf,fixed-hpdet-imp = <16>;
			wlf,micd-software-compare;
			wlf,micd-open-circuit-declare = <1>;

			wlf,max-channels-clocked = <2 0 0>;
			/* 0:MICVDD 1:MICBIAS1 2:MICBIAS2 3:MICBIAS3 */
			wlf,dmic-ref = <2 1 3 0>;
			/* 1st cell:IN1 2rd cell:IN2 3nd cell:IN3 4th cell:IN4 */
			wlf,inmode = <0 0 0 0>;

			AVDD-supply = <&ldo27_reg>;
			LDOVDD-supply = <&ldo27_reg>;
			DBVDD1-supply = <&ldo27_reg>;

			CPVDD-supply = <&ldo27_reg>;
			DBVDD2-supply = <&ldo27_reg>;
			DBVDD3-supply = <&ldo27_reg>;
			SPKVDDL-supply = <&ldo27_reg>;
			SPKVDDR-supply = <&ldo27_reg>;

			adsps {
				#address-cells = <1>;
				#size-cells = <0>;

				adsp@1100 {
					reg = <0x1100>;
					firmware {
						EDAC {
							wlf,wmfw-file = "edac";
							wlf,bin-file = "edac";
						};
						TRACE {
							wlf,wmfw-file = "trace";
							wlf,compr-caps = <1 8 0x4 1 8000 16000 24000>;
						};
					};
				};
				adsp@1200 {
					reg = <0x1200>;
					firmware {
						TX_NB {
							wlf,wmfw-file = "tx-nb";
						};
						TX_WB {
							wlf,wmfw-file = "tx-wb";
						};
						TX_SWB_INTERVIEW {
							wlf,wmfw-file = "tx-swb";
						};
						TX_SWB_CONVERSATION {
							wlf,wmfw-file = "tx-swb";
						};
					};
				};
				adsp@1300 {
					reg = <0x1300>;
					firmware {
						TX_NB {
							wlf,wmfw-file = "tx-nb";
							wlf,bin-file = "tx-nb";
						};
						TX_WB {
							wlf,wmfw-file = "tx-wb";
							wlf,bin-file = "tx-wb";
						};
						TX_SWB_INTERVIEW {
							wlf,wmfw-file = "tx-swb";
							wlf,bin-file = "tx-swb-interview";
						};
						TX_SWB_CONVERSATION {
							wlf,wmfw-file = "tx-swb";
							wlf,bin-file = "tx-swb-conversation";
						};
						VOICECONTROL {
							wlf,wmfw-file = "ez2-control";
							wlf,bin-file = "ez2-control";
						};
						LPSD {
							wlf,wmfw-file = "ez2-control";
							wlf,bin-file = "lpsd-control";
						};
					};
				};
				adsp@1400 {
					reg = <0x1400>;
					firmware {
						RX_NB {
							wlf,wmfw-file = "rx-anc-nb";
							wlf,bin-file = "rx-anc-nb";
						};
						RX_WB {
							wlf,wmfw-file = "rx-anc-wb";
							wlf,bin-file = "rx-anc-wb";
						};
					};
				};
			};

			controller-data {
				cs-gpio = <&gpd8 1 0>;
				samsung,spi-feedback-delay = <0>;
			};
		};
	};

	pinctrl@10580000 {
		codec_irq: codec-irq {
			samsung,pins = "gpa0-5";
			samsung,pin-function = <0xf>;
			samsung,pin-pud = <3>;
		};
		codec_irq_idle: codec-irq-idle {
			samsung,pins = "gpa0-5";
			samsung,pin-function = <0x0>;
			samsung,pin-pud = <3>;
		};
	};

	pinctrl@14870000 {
		codec_reset: codec-reset {
			samsung,pins ="gpf2-1";
			samsung,pin-function = <1>;
			samsung,pin-pud = <1>;
			samsung,pin-con-pdn =<3>;
			samsung,pin-pud-pdn = <1>;
			samsung,pin-val = <0>;
		};
		codec_ldoena: codec-ldoena {
			samsung,pins ="gpf2-2";
			samsung,pin-function = <1>;
			samsung,pin-pud = <1>;
			samsung,pin-con-pdn =<3>;
			samsung,pin-pud-pdn = <1>;
			samsung,pin-val = <1>;
		};
	};

	lpass: lpass@11400000 {
		pinctrl-names = "default";
		pinctrl-0 = <&dbg_if>;
	};

	i2s0: i2s@11440000 {
		pinctrl-0 = <&i2s0_bus_sd0>;
		pinctrl-1 = <&i2s0_bus_idle_sd0>;
		status = "okay";
	};

	i2s1: i2s@14D60000 {
		status = "okay";
	};

	audio_codec_dummy: dummy-codec {
		compatible = "samsung,dummy-codec";
		status = "okay";
	};

	i2s_dummy: dummy-i2s {
		compatible = "samsung,dummy-i2s";
		status = "okay";
	};

	sound {
		compatible = "samsung,espresso_wm5110";
		pinctrl-names = "default", "idle";
		pinctrl-0 = <&codec_irq>;
		pinctrl-1 = <&codec_irq_idle>;
		samsung,audio-cpu = <&i2s0		 /* primary */
				     &i2s0>;		 /* secondary */
		samsung,audio-cpu-hdmi = <&i2s1>;	 /* hdmi */
		samsung,audio-codec = <&audio_codec
				       &audio_codec
				       &audio_codec_dummy>;
		status = "okay";
	};

	amba {
		adma: adma@11420000 {
			compatible = "arm,pl330", "arm,primecell";
			reg = <0x11420000 0x1000>;
			interrupts = <0 97 0>;
			clocks = <&clock 400>;
			clock-names = "apb_pclk";
			#dma-cells = <1>;
			#dma-channels = <8>;
			#dma-requests = <16>;
			#dma-mcode-addr = <0x03047000>;
			samsung,lpass-subip;
			status = "ok";
		};
	};
};
